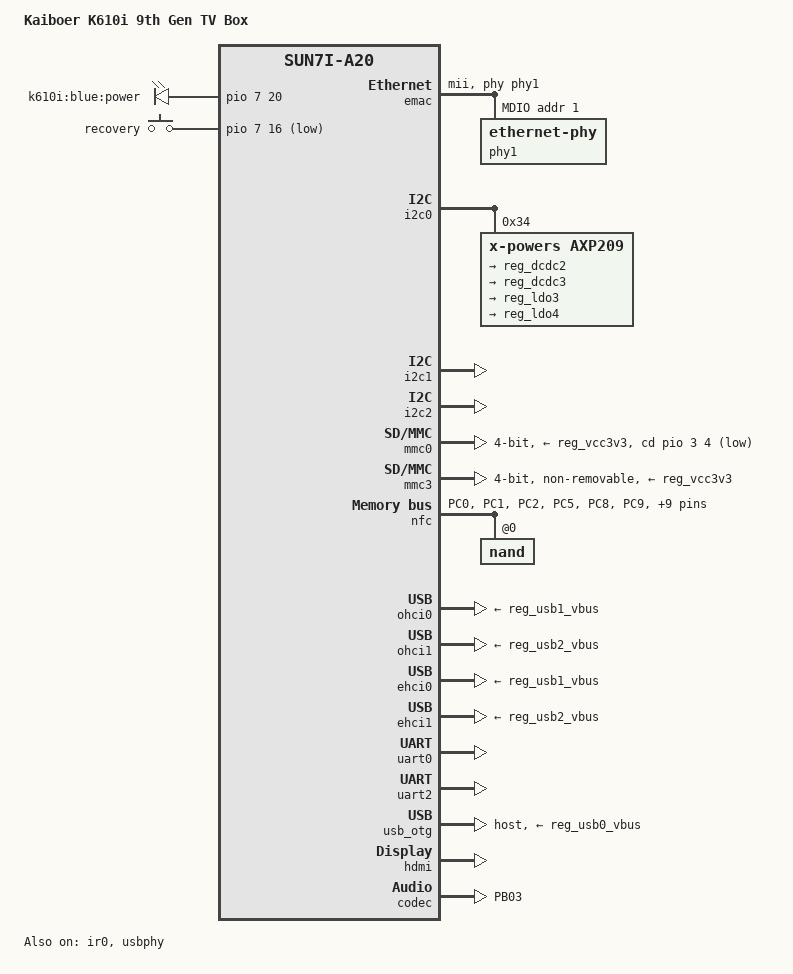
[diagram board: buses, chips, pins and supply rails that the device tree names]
// SPDX-License-Identifier: (GPL-2.0+ OR MIT)
/*
 * Device Tree Source for the Kaiboer K610i 9th Generation TV Box
 * SoC: Allwinner A20 (sun7i)
 */

/dts-v1/;
#include "sun7i-a20.dtsi"
#include "sunxi-common-regulators.dtsi"

/ {
	model = "Kaiboer K610i 9th Gen TV Box";
	compatible = "kaiboer,k610i-gen9", "allwinner,sun7i-a20";

	aliases {
		serial0 = &uart0;
		mmc0 = &mmc0;
		ethernet0 = &emac;
	};

	chosen {
		stdout-path = "serial0:115200n8";
	};

	leds {
		compatible = "gpio-leds";
		pinctrl-names = "default";
		pinctrl-0 = <&led_pins_k610i>;

		led-0 {
			label = "k610i:blue:power";
			gpios = <&pio 7 20 GPIO_ACTIVE_HIGH>; /* PH20 */
			default-state = "on";
		};
	};

	gpio_keys: gpio-keys {
		compatible = "gpio-keys";
		pinctrl-names = "default";
		pinctrl-0 = <&key_pins_k610i>;

		recovery {
			label = "recovery";
			linux,code = <0x198>; /* KEY_RESTART */
			gpios = <&pio 7 16 GPIO_ACTIVE_LOW>; /* PH16 */
		};
	};
};

/* ---- 覆盖 common-regulators 里的 usb0_vbus：FEX 用 PH9 而非默认 PB9 ---- */
&reg_usb0_vbus {
	gpio = <&pio 7 9 GPIO_ACTIVE_HIGH>; /* PH09 */
	status = "okay";
};

&reg_usb1_vbus {
	status = "okay";
};

&reg_usb2_vbus {
	status = "okay";
};

&cpu0 {
	cpu-supply = <&reg_dcdc2>;
};

&cpu1 {
	cpu-supply = <&reg_dcdc2>;
};

/* 百兆 EMAC，引用 dtsi 里已有的 emac_pa_pins */
&emac {
	pinctrl-names = "default";
	pinctrl-0 = <&emac_pa_pins>;
	phy-handle = <&phy1>;
	phy-mode = "mii";
	allwinner,sram = <&emac_sram 1>;
	status = "okay";

	mdio {
		#address-cells = <1>;
		#size-cells = <0>;

		phy1: ethernet-phy@1 {
			reg = <1>;
		};
	};
};

&gmac {
	status = "disabled";
};

&i2c0 {
	status = "okay";

	axp209: pmic@34 {
		compatible = "x-powers,axp209";
		reg = <0x34>;
		interrupts = <0>;
		interrupt-controller;
		#interrupt-cells = <1>;

		regulators {
			reg_dcdc2: dcdc2 {
				regulator-name = "vdd-cpu";
				regulator-always-on;
			};

			reg_dcdc3: dcdc3 {
				regulator-name = "vdd-int";
				regulator-always-on;
			};

			reg_ldo3: ldo3 {
				regulator-name = "vcc-3v3";
				regulator-always-on;
			};

			reg_ldo4: ldo4 {
				regulator-name = "vcc-3v3-rtc";
				regulator-always-on;
			};
		};
	};
};

&i2c1 {
	status = "okay";
};

&i2c2 {
	status = "okay";
};

/* 引用 dtsi 里已有的 ir0_rx_pin (PB4) */
&ir0 {
	pinctrl-names = "default";
	pinctrl-0 = <&ir0_rx_pin>;
	status = "okay";
};

/* 引用 dtsi 里已有的 mmc0_pins (PF0-PF5) */
&mmc0 {
	pinctrl-names = "default";
	pinctrl-0 = <&mmc0_pins>;
	vmmc-supply = <&reg_vcc3v3>;
	bus-width = <4>;
	cd-gpios = <&pio 3 4 GPIO_ACTIVE_LOW>; /* PD4 */
	status = "okay";
};

/* 引用 dtsi 里已有的 mmc3_pins (PI4-PI9) */
&mmc3 {
	pinctrl-names = "default";
	pinctrl-0 = <&mmc3_pins>;
	vmmc-supply = <&reg_vcc3v3>;
	non-removable;
	bus-width = <4>;
	status = "okay";
};

/* NAND：dtsi 里没有 pinctrl 组，板级自建 */
&nfc {
	pinctrl-names = "default";
	pinctrl-0 = <&nand_pins_k610i>, <&nand_cs0_k610i>, <&nand_rb0_k610i>;
	status = "okay";

	nand@0 {
		#address-cells = <0>;
		#size-cells = <0>;
		reg = <0>;
		allwinner,rb = <0>;
		nand-on-flash-bbt;
	};
};

&ohci0 {
	status = "okay";
	vbus-supply = <&reg_usb1_vbus>;
};

&ohci1 {
	status = "okay";
	vbus-supply = <&reg_usb2_vbus>;
};

&ehci0 {
	status = "okay";
	vbus-supply = <&reg_usb1_vbus>;
};

&ehci1 {
	status = "okay";
	vbus-supply = <&reg_usb2_vbus>;
};

&otg_sram {
	status = "okay";
};

/* 引用 dtsi 里已有的 uart0_pb_pins (PB22/PB23) */
&uart0 {
	pinctrl-names = "default";
	pinctrl-0 = <&uart0_pb_pins>;
	status = "okay";
};

/* uart2_pi_pins 名在 dtsi 里正确 */
&uart2 {
	pinctrl-names = "default";
	pinctrl-0 = <&uart2_pi_pins>;
	status = "okay";
};

&usb_otg {
	dr_mode = "host";
	status = "okay";
	vbus-supply = <&reg_usb0_vbus>;
};

&usbphy {
	status = "okay";
	usb0_vbus-supply = <&reg_usb0_vbus>;
	usb1_vbus-supply = <&reg_usb1_vbus>;
	usb2_vbus-supply = <&reg_usb2_vbus>;
};

&hdmi {
	status = "okay";
};

&codec {
	status = "okay";
	pinctrl-names = "default";
	pinctrl-0 = <&codec_pa_pin>;
	pa-gpios = <&pio 1 3 GPIO_ACTIVE_HIGH>; /* PB03 */
};

/* 板级 pin group：只补 dtsi 里没有的 */
&pio {
	led_pins_k610i: led-pins-k610i {
		pins = "PH20";
		function = "gpio_out";
		drive-strength = <20>;
	};

	key_pins_k610i: key-pins-k610i {
		pins = "PH16";
		function = "gpio_in";
		bias-pull-up;
	};

	codec_pa_pin: codec-pa-pin {
		pins = "PB03";
		function = "gpio_out";
		drive-strength = <10>;
	};

	/* NAND PC0-PC16, CS0=PC4, RB0=PC6 — dtsi 里没有，板级自建 */
	nand_pins_k610i: nand-base0 {
		pins = "PC0", "PC1", "PC2", "PC5", "PC8", "PC9",
		       "PC10", "PC11", "PC12", "PC13", "PC14", "PC15", "PC16";
		function = "nand0";
		drive-strength = <30>;
	};

	nand_cs0_k610i: nand-cs0 {
		pins = "PC4";
		function = "nand0";
		drive-strength = <30>;
		bias-pull-up;
	};

	nand_rb0_k610i: nand-rb0 {
		pins = "PC6";
		function = "nand0";
		drive-strength = <10>;
		bias-pull-up;
	};
};
